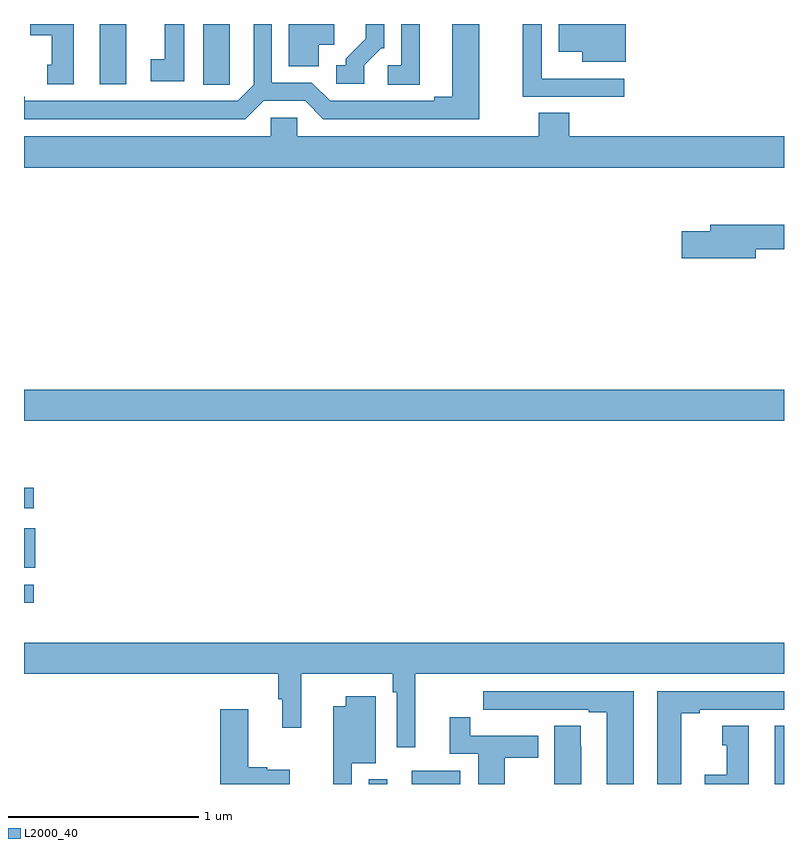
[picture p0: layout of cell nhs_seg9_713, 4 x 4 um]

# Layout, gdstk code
import gdstk
lib = gdstk.Library(unit=1e-6, precision=1e-09)
def R(c, l, rs):  # rectangles x0, y0, x1, y1
    for r in rs: c.add(gdstk.rectangle(r[:2], r[2:], *l))
def P(c, l, *ps):  # polygons
    for p in ps: c.add(gdstk.Polygon(p, *l))
L2000_40 = (2000, 40)

nhs_seg9_713 = lib.new_cell('nhs_seg9_713')
R(nhs_seg9_713, L2000_40, [(148.815,1202.5,148.912,1202.524), (149.042,1202.5,149.296,1202.569), (150.95,1202.5,151,1202.806), (147,1203.453,147.052,1203.549), (147,1203.638,147.058,1203.847), (147,1203.951,147.052,1204.06), (147,1204.412,151,1204.576), (147.398,1206.183,147.538,1206.5)])
P(nhs_seg9_713, L2000_40, [(150.16,1206.213),(149.726,1206.213),(149.726,1206.214),(149.724,1206.214),(149.724,1206.5),(149.626,1206.5),(149.626,1206.117),(150.16,1206.117)],
  [(147.844,1206.5),(147.74,1206.5),(147.74,1206.314),(147.666,1206.314),(147.666,1206.198),(147.844,1206.198)],
  [(148.791,1206.282),(148.881,1206.372),(148.896,1206.372),(148.896,1206.5),(148.799,1206.5),(148.799,1206.422),(148.694,1206.317),(148.694,1206.282),(148.644,1206.282),(148.644,1206.186),(148.791,1206.186)],
  [(148.083,1206.289),(148.084,1206.289),(148.084,1206.5),(147.944,1206.5),(147.944,1206.181),(148.083,1206.181)],
  [(147.262,1206.5),(147.032,1206.5),(147.032,1206.44),(147.146,1206.44),(147.146,1206.285),(147.122,1206.285),(147.122,1206.183),(147.262,1206.183)],
  [(148.552,1206.392),(148.633,1206.392),(148.633,1206.5),(148.394,1206.5),(148.394,1206.277),(148.552,1206.277)],
  [(148.261,1206.096),(148.479,1206.096),(148.575,1206),(149.395,1206),(149.395,1206.5),(149.255,1206.5),(149.255,1206.116),(149.159,1206.116),(149.159,1206.096),(148.611,1206.096),(148.515,1206.192),(148.305,1206.192),(148.305,1206.5),(148.209,1206.5),(148.209,1206.18),(148.125,1206.096),(147.004,1206.096),(147.004,1206.116),(147,1206.116),(147,1206),(148.165,1206)],
  [(150.166,1206.5),(149.814,1206.5),(149.814,1206.353),(149.939,1206.353),(149.939,1206.302),(150.166,1206.302)],
  [(149.083,1206.5),(148.986,1206.5),(148.986,1206.282),(148.914,1206.282),(148.914,1206.181),(149.083,1206.181)],
  [(151,1205.908),(149.87,1205.908),(149.87,1206.032),(149.71,1206.032),(149.71,1205.908),(148.437,1205.908),(148.437,1206.006),(148.299,1206.006),(148.299,1205.908),(147,1205.908),(147,1205.744),(151,1205.744)],
  [(150.85,1205.314),(151,1205.314),(151,1205.443),(150.611,1205.443),(150.611,1205.409),(150.462,1205.409),(150.462,1205.267),(150.85,1205.267)],
  [(149.06,1203.08),(151,1203.08),(151,1203.244),(147,1203.244),(147,1203.08),(148.339,1203.08),(148.339,1202.946),(148.358,1202.946),(148.358,1202.796),(148.458,1202.796),(148.458,1203.08),(148.942,1203.08),(148.942,1202.984),(148.962,1202.984),(148.962,1202.694),(149.06,1202.694)],
  [(150.46,1202.872),(150.556,1202.872),(150.556,1202.892),(151,1202.892),(151,1202.988),(150.332,1202.988),(150.332,1202.5),(150.46,1202.5)],
  [(150.208,1202.988),(149.418,1202.988),(149.418,1202.892),(149.53,1202.892),(149.53,1202.891),(149.696,1202.891),(149.696,1202.892),(149.972,1202.892),(149.972,1202.877),(150.068,1202.877),(150.068,1202.5),(150.208,1202.5)],
  [(148.725,1202.609),(148.852,1202.609),(148.852,1202.962),(148.694,1202.962),(148.694,1202.908),(148.628,1202.908),(148.628,1202.613),(148.627,1202.613),(148.627,1202.5),(148.725,1202.5)],
  [(148.399,1202.575),(148.281,1202.575),(148.281,1202.588),(148.18,1202.588),(148.18,1202.893),(148.034,1202.893),(148.034,1202.5),(148.399,1202.5)],
  [(149.53,1202.638),(149.707,1202.638),(149.707,1202.754),(149.348,1202.754),(149.348,1202.851),(149.24,1202.851),(149.24,1202.658),(149.39,1202.658),(149.39,1202.5),(149.53,1202.5)],
  [(149.932,1202.699),(149.931,1202.699),(149.931,1202.807),(149.792,1202.807),(149.792,1202.5),(149.932,1202.5)],
  [(150.814,1202.806),(150.674,1202.806),(150.674,1202.703),(150.698,1202.703),(150.698,1202.548),(150.584,1202.548),(150.584,1202.5),(150.814,1202.5)])

lib.write_gds('nhs_seg9_713.gds')
